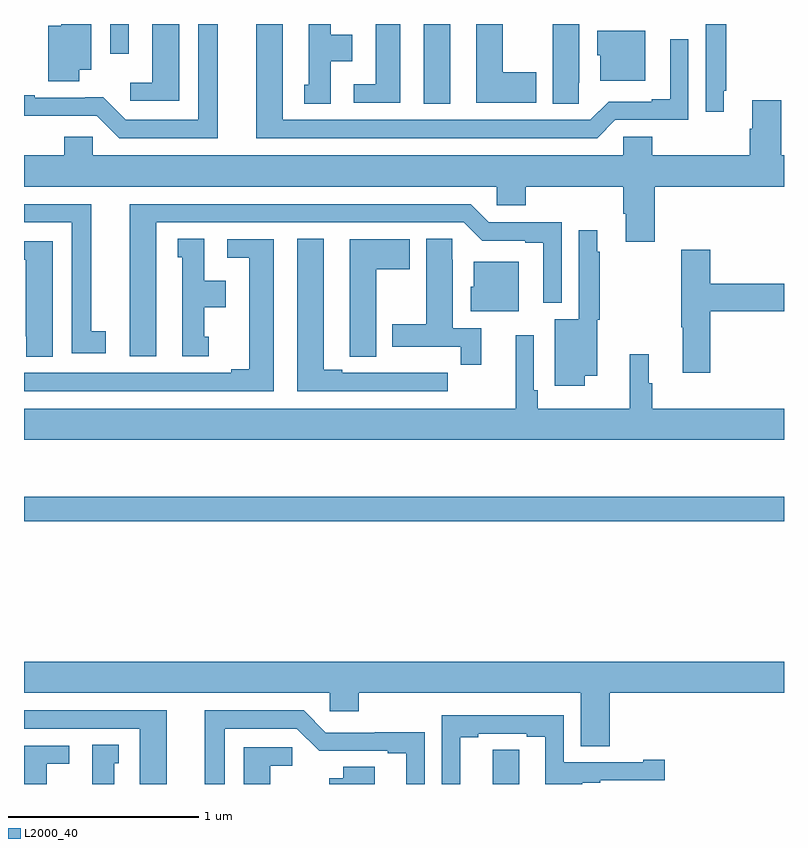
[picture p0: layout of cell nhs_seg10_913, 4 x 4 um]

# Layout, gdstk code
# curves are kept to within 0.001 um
import gdstk
lib = gdstk.Library(unit=1e-6, precision=1e-09)
def R(c, l, rs):  # rectangles x0, y0, x1, y1
    for r in rs: c.add(gdstk.rectangle(r[:2], r[2:], *l))
def P(c, l, *ps):  # polygons
    for p in ps: c.add(gdstk.Polygon(p, *l))
L2000_40 = (2000, 40)

nhs_seg10_913 = lib.new_cell('nhs_seg10_913')
R(nhs_seg10_913, L2000_40, [(157,1303.882,161,1304.011), (159.104,1306.081,159.244,1306.5), (157.455,1306.344,157.551,1306.5)])
P(nhs_seg10_913, L2000_40, [(158.02,1306.5),(157.916,1306.5),(157.916,1305.996),(157.536,1305.996),(157.418,1306.114),(157.057,1306.113),(157.057,1306.126),(157,1306.126),(157,1306.016),(157.383,1306.017),(157.5,1305.9),(158.02,1305.9)],
  [(159.921,1306.192),(159.922,1306.192),(159.922,1306.5),(159.782,1306.5),(159.782,1306.081),(159.921,1306.081)],
  [(160.113,1305.996),(160.497,1305.996),(160.497,1306.42),(160.4,1306.42),(160.4,1306.105),(160.304,1306.105),(160.304,1306.092),(160.077,1306.092),(159.981,1305.996),(158.362,1305.996),(158.362,1306.5),(158.222,1306.5),(158.222,1305.9),(160.017,1305.9)],
  [(159.697,1306.245),(159.52,1306.245),(159.52,1306.5),(159.38,1306.5),(159.38,1306.085),(159.697,1306.085)],
  [(160.684,1306.15),(160.696,1306.15),(160.696,1306.5),(160.587,1306.5),(160.587,1306.038),(160.684,1306.038)],
  [(157.291,1306.259),(157.354,1306.259),(157.354,1306.5),(157.196,1306.5),(157.196,1306.492),(157.127,1306.492),(157.127,1306.198),(157.291,1306.198)],
  [(158.614,1306.304),(158.728,1306.304),(158.728,1306.444),(158.614,1306.444),(158.614,1306.5),(158.498,1306.5),(158.498,1306.179),(158.474,1306.179),(158.474,1306.081),(158.614,1306.081)],
  [(158.98,1306.5),(158.852,1306.5),(158.852,1306.182),(158.736,1306.182),(158.736,1306.086),(158.98,1306.086)],
  [(157.816,1306.5),(157.676,1306.5),(157.676,1306.192),(157.56,1306.192),(157.56,1306.095),(157.816,1306.095)],
  [(160.27,1306.465),(160.016,1306.465),(160.016,1306.335),(160.034,1306.335),(160.034,1306.202),(160.27,1306.202)],
  [(160.155,1305.808),(157.362,1305.808),(157.362,1305.906),(157.211,1305.906),(157.211,1305.808),(157,1305.808),(157,1305.644),(159.489,1305.644),(159.489,1305.546),(159.641,1305.546),(159.641,1305.644),(160.154,1305.644),(160.154,1305.502),(160.166,1305.502),(160.166,1305.354),(160.319,1305.354),(160.319,1305.644),(161,1305.644),(161,1305.808),(160.985,1305.808),(160.985,1306.099),(160.832,1306.099),(160.832,1305.95),(160.82,1305.95),(160.82,1305.808),(160.307,1305.808),(160.307,1305.906),(160.155,1305.906)],
  [(157.696,1305.456),(159.315,1305.456),(159.411,1305.36),(159.638,1305.36),(159.638,1305.348),(159.734,1305.348),(159.734,1305.032),(159.831,1305.032),(159.831,1305.456),(159.447,1305.456),(159.351,1305.552),(157.556,1305.552),(157.556,1304.751),(157.696,1304.751)],
  [(157.429,1304.882),(157.354,1304.882),(157.354,1305.552),(157,1305.552),(157,1305.456),(157.25,1305.456),(157.25,1304.766),(157.429,1304.766)],
  [(159.952,1304.648),(160.018,1304.648),(160.018,1304.943),(160.03,1304.943),(160.03,1305.302),(160.018,1305.302),(160.018,1305.415),(159.921,1305.415),(159.921,1304.947),(159.794,1304.947),(159.794,1304.595),(159.952,1304.595)],
  [(157.972,1304.853),(157.948,1304.853),(157.948,1305.008),(158.062,1305.008),(158.062,1305.148),(157.948,1305.148),(157.948,1305.371),(157.808,1305.371),(157.808,1305.273),(157.832,1305.273),(157.832,1304.751),(157.972,1304.751)],
  [(159.229,1304.664),(159.116,1304.664),(159.116,1304.665),(158.95,1304.665),(158.95,1304.664),(158.674,1304.664),(158.674,1304.679),(158.578,1304.679),(158.578,1305.371),(158.438,1305.371),(158.438,1304.568),(159.229,1304.568)],
  [(159.407,1304.898),(159.256,1304.898),(159.256,1305.26),(159.255,1305.26),(159.255,1305.371),(159.116,1305.371),(159.116,1304.919),(158.939,1304.919),(158.939,1304.802),(159.298,1304.802),(159.298,1304.706),(159.407,1304.706)],
  [(158.854,1305.208),(159.031,1305.208),(159.031,1305.367),(158.714,1305.367),(158.714,1304.857),(158.715,1304.857),(158.715,1304.749),(158.854,1304.749)],
  [(158.314,1305.366),(158.07,1305.366),(158.07,1305.27),(158.186,1305.27),(158.186,1304.684),(158.09,1304.684),(158.09,1304.664),(157,1304.664),(157,1304.568),(158.314,1304.568)],
  [(157.15,1305.357),(157,1305.357),(157,1305.26),(157.01,1305.26),(157.01,1304.857),(157.011,1304.857),(157.011,1304.749),(157.15,1304.749)],
  [(160.613,1304.987),(161,1304.987),(161,1305.134),(160.613,1305.134),(160.613,1305.313),(160.459,1305.313),(160.459,1304.903),(160.466,1304.903),(160.466,1304.664),(160.613,1304.664)],
  [(159.604,1305.25),(159.368,1305.25),(159.368,1305.117),(159.35,1305.117),(159.35,1304.987),(159.604,1304.987)],
  [(160.288,1304.61),(160.288,1304.761),(160.189,1304.761),(160.189,1304.476),(159.704,1304.476),(159.704,1304.572),(159.684,1304.572),(159.684,1304.863),(159.587,1304.863),(159.587,1304.476),(157,1304.476),(157,1304.312),(161,1304.312),(161,1304.476),(160.307,1304.476),(160.307,1304.61)],
  [(160.082,1302.98),(161,1302.98),(161,1303.144),(157,1303.144),(157,1302.98),(158.61,1302.98),(158.61,1302.882),(158.762,1302.882),(158.762,1302.98),(159.929,1302.98),(159.929,1302.7),(160.082,1302.7)],
  [(157.75,1302.888),(157,1302.888),(157,1302.792),(157.61,1302.792),(157.61,1302.5),(157.75,1302.5)],
  [(158.056,1302.792),(158.436,1302.792),(158.554,1302.674),(158.915,1302.675),(158.915,1302.663),(159.011,1302.663),(159.011,1302.5),(159.108,1302.5),(159.108,1302.773),(158.845,1302.773),(158.845,1302.771),(158.589,1302.771),(158.472,1302.888),(157.952,1302.888),(157.952,1302.5),(158.056,1302.5)],
  [(159.295,1302.745),(159.391,1302.745),(159.391,1302.765),(159.647,1302.765),(159.647,1302.75),(159.743,1302.75),(159.743,1302.5),(159.938,1302.5),(159.938,1302.507),(160.033,1302.507),(160.033,1302.519),(160.372,1302.519),(160.372,1302.628),(160.259,1302.628),(160.259,1302.615),(159.84,1302.615),(159.84,1302.861),(159.198,1302.861),(159.198,1302.5),(159.295,1302.5)],
  [(157.474,1302.609),(157.498,1302.609),(157.498,1302.707),(157.358,1302.707),(157.358,1302.5),(157.474,1302.5)],
  [(157.12,1302.606),(157.237,1302.606),(157.237,1302.702),(157,1302.702),(157,1302.5),(157.12,1302.5)],
  [(158.296,1302.596),(158.413,1302.596),(158.413,1302.693),(158.156,1302.693),(158.156,1302.5),(158.296,1302.5)],
  [(159.607,1302.572),(159.606,1302.572),(159.606,1302.68),(159.467,1302.68),(159.467,1302.5),(159.607,1302.5)],
  [(158.845,1302.59),(158.681,1302.59),(158.681,1302.529),(158.606,1302.529),(158.606,1302.5),(158.845,1302.5)])

lib.write_gds('nhs_seg10_913.gds')
